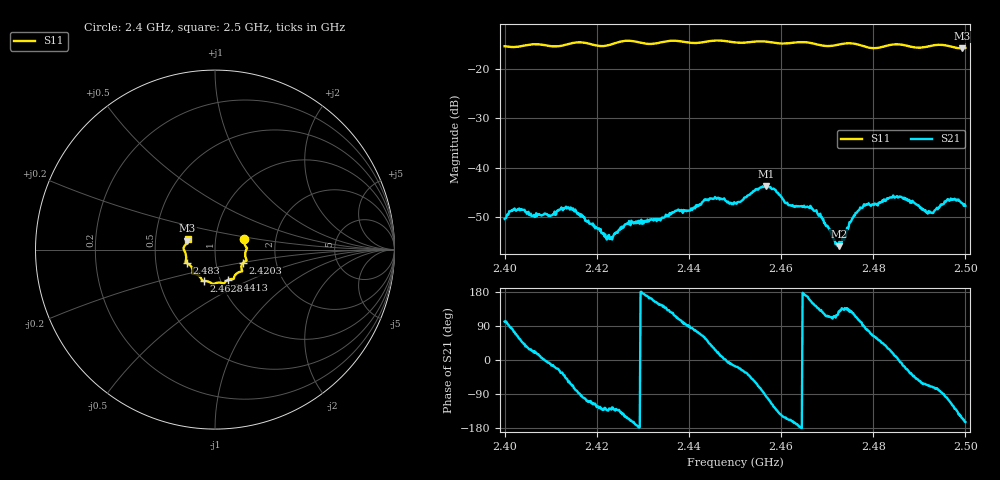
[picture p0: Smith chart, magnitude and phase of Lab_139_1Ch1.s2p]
# Hz S RI R 50
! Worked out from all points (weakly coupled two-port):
!   601 points, 2.4 GHz to 2.5 GHz, reference 50 ohm
!   highest |S21| = -43.74 dB at 2.4567 GHz (marker M1); lowest = -55.9 dB at 2.4725 GHz (marker M2)
!   lowest |S11| = -15.8 dB at 2.4993 GHz (marker M3), VSWR 1.39, Z = 36.5 + j3.7 ohm
!   |S11| at or under -10 dB: start of sweep to end of sweep
!   S12 and S22 are empty: the file has one direction only
!   S11 on the Smith chart (normalised r, x): 2.4 GHz: 1.37, +0.16; 2.4203 GHz: 1.35, -0.21; 2.4413 GHz: 1.09, -0.38; 2.4628 GHz: 0.83, -0.30; 2.483 GHz: 0.72, -0.11; 2.5 GHz: 0.73, +0.09
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2.4e9  0.1606 0.0566  -0.000594 0.00297  0 0  0 0
2.401833e9  0.1629 0.0367  0.000779 0.00368  0 0  0 0
2.413333e9  0.1709 -0.0458  0.00266 -0.00303  0 0  0 0
2.416667e9  0.1759 -0.0615  -0.00018 -0.00336  0 0  0 0
2.420333e9  0.1552 -0.0742  -0.00136 -0.002  0 0  0 0
2.422833e9  0.1467 -0.0974  -0.00117 -0.00148  0 0  0 0
2.4265e9  0.1518 -0.1202  -0.00235 -0.00133  0 0  0 0
2.433333e9  0.1082 -0.1485  -0.00256 0.00154  0 0  0 0
2.441333e9  0.0742 -0.1681  0.000739 0.0038  0 0  0 0
2.445167e9  0.0518 -0.1867  0.00401 0.00268  0 0  0 0
2.45e9  0.0291 -0.184  0.00421 -0.00124  0 0  0 0
2.456667e9  -0.0156 -0.1893  -0.000539 -0.00648  0 0  0 0
2.462833e9  -0.0629 -0.1745  -0.00394 -0.000948  0 0  0 0
2.466667e9  -0.0743 -0.1674  -0.00341 0.00179  0 0  0 0
2.4725e9  -0.1149 -0.1347  -0.000984 0.00126  0 0  0 0
2.4775e9  -0.1243 -0.1204  -0.000588 0.00384  0 0  0 0
2.483e9  -0.1547 -0.0766  0.0041 0.00268  0 0  0 0
2.483333e9  -0.1569 -0.0756  0.00426 0.0024  0 0  0 0
2.492333e9  -0.1714 -0.00432  0.00126 -0.00336  0 0  0 0
2.496333e9  -0.1705 0.0185  -0.00125 -0.0046  0 0  0 0
2.499333e9  -0.1544 0.0495  -0.0039 -0.00193  0 0  0 0
2.5e9  -0.1529 0.0586  -0.00395 -0.00115  0 0  0 0
